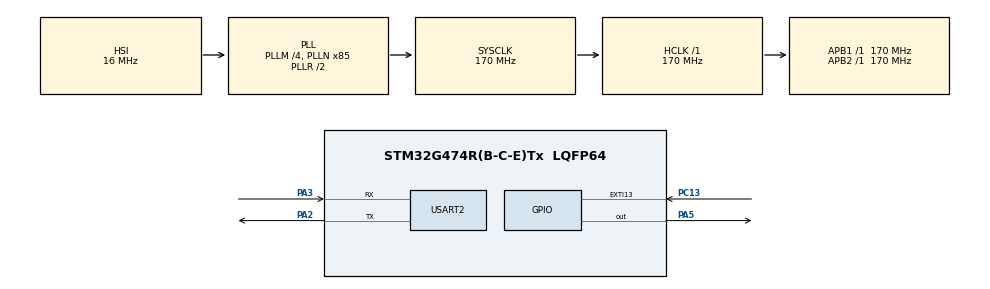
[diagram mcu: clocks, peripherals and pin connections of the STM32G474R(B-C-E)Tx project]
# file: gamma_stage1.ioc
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Dma.Request0=USART2_RX
Dma.USART2_RX.0.Direction=DMA_PERIPH_TO_MEMORY
Dma.USART2_RX.0.EventEnable=DISABLE
Dma.USART2_RX.0.Instance=DMA1_Channel1
Dma.USART2_RX.0.MemDataAlignment=DMA_MDATAALIGN_BYTE
Dma.USART2_RX.0.MemInc=DMA_MINC_ENABLE
Dma.USART2_RX.0.Mode=DMA_CIRCULAR
Dma.USART2_RX.0.PeriphDataAlignment=DMA_PDATAALIGN_BYTE
Dma.USART2_RX.0.PeriphInc=DMA_PINC_DISABLE
Dma.USART2_RX.0.Polarity=HAL_DMAMUX_REQ_GEN_RISING
Dma.USART2_RX.0.Priority=DMA_PRIORITY_LOW
Dma.USART2_RX.0.RequestNumber=1
Dma.USART2_RX.0.SignalID=NONE
Dma.USART2_RX.0.SyncEnable=DISABLE
Dma.USART2_RX.0.SyncPolarity=HAL_DMAMUX_SYNC_NO_EVENT
Dma.USART2_RX.0.SyncRequestNumber=1
Dma.USART2_RX.0.SyncSignalID=NONE
Mcu.Family=STM32G4
Mcu.Name=STM32G474R(B-C-E)Tx
Mcu.Package=LQFP64
NUCLEO-G474RE.BUTTON=1
NUCLEO-G474RE.LD2=true
NUCLEO-G474RE.VCP=true
NVIC.DMA1_Channel1_IRQn=true\:0\:0\:false\:false\:true\:false\:true\:true
NVIC.EXTI15_10_IRQn=true\:0\:0\:false\:false\:true\:true\:true\:true
NVIC.PriorityGroup=NVIC_PRIORITYGROUP_4
PA13.GPIO_Label=T_SWDIO
PA13.Signal=SYS_JTMS-SWDIO
PA14.GPIO_Label=T_SWCLK
PA14.Signal=SYS_JTCK-SWCLK
PA2.Mode=Asynchronous
PA2.Signal=USART2_TX
PA3.Mode=Asynchronous
PA3.Signal=USART2_RX
PA5.Signal=GPIO_Output
PB3.GPIO_Label=T_SWO
PB3.Signal=SYS_JTDO-SWO
PC13.Signal=GPXTI13
PC14-OSC32_IN.GPIO_Label=RCC_OSC32_IN
PC14-OSC32_IN.Signal=RCC_OSC32_IN
PC15-OSC32_OUT.GPIO_Label=RCC_OSC32_OUT
PC15-OSC32_OUT.Signal=RCC_OSC32_OUT
PF0-OSC_IN.GPIO_Label=RCC_OSC_IN
PF0-OSC_IN.Signal=RCC_OSC_IN
PF1-OSC_OUT.GPIO_Label=RCC_OSC_OUT
PF1-OSC_OUT.Signal=RCC_OSC_OUT
ProjectManager.HeapSize=0x200
ProjectManager.StackSize=0x400
ProjectManager.TargetToolchain=STM32CubeIDE
RCC.ADC12Freq_Value=170000000
RCC.ADC345Freq_Value=170000000
RCC.AHBFreq_Value=170000000
RCC.APB1Freq_Value=170000000
RCC.APB1TimFreq_Value=170000000
RCC.APB2Freq_Value=170000000
RCC.APB2TimFreq_Value=170000000
RCC.CortexFreq_Value=170000000
RCC.EXTERNAL_CLOCK_VALUE=12288000
RCC.HCLKFreq_Value=170000000
RCC.HSE_VALUE=24000000
RCC.HSI48_VALUE=48000000
RCC.HSI_VALUE=16000000
RCC.LSE_VALUE=32768
RCC.PLLM=RCC_PLLM_DIV4
RCC.PLLN=85
RCC.RTCClockSelection=RCC_RTCCLKSOURCE_LSE
RCC.SYSCLKFreq_VALUE=170000000
RCC.SYSCLKSource=RCC_SYSCLKSOURCE_PLLCLK
RCC.USBFreq_Value=170000000
RCC.VCOOutputFreq_Value=340000000
VP_NUCLEO-G474RE_VS_BSP_COMMON.Mode=COMMON
VP_SYS_VS_DBSignals.Mode=DisableDeadBatterySignals
board=NUCLEO-G474RE

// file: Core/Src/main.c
/* USER CODE BEGIN Header */
/**
  ******************************************************************************
  * @file           : main.c
  * @brief          : Main program body
  ******************************************************************************
  * @attention
  *
  * Copyright (c) 2026 STMicroelectronics.
  * All rights reserved.
  *
  * This software is licensed under terms that can be found in the LICENSE file
  * in the root directory of this software component.
  * If no LICENSE file comes with this software, it is provided AS-IS.
  *
  ******************************************************************************
  */
/* USER CODE END Header */
#include "main.h"

/* USER CODE BEGIN Includes */
#include "app.h"
void stage2_init(void);   /* stage2_hw.c: DAC→ADC→DSP тракт */
/* USER CODE END Includes */

COM_InitTypeDef BspCOMInit;

/* USER CODE BEGIN PV */
#define UART_RX_RING_SIZE 256
static uint8_t  uart_rx_ring[UART_RX_RING_SIZE];
static uint32_t uart_rx_tail = 0;

/* Имя hdma_usart2_rx обязано совпадать со ссылкой в DMA1_Channel1_IRQHandler
 * (stm32g4xx_it.c). Фактически канал обслуживает LPUART1_RX — VCP платы. */
DMA_HandleTypeDef hdma_usart2_rx;
/* USER CODE END PV */

void SystemClock_Config(void);
static void MX_GPIO_Init(void);
static void MX_DMA_Init(void);

/* USER CODE BEGIN 0 */

/* ---- порты для app.c (см. firmware/core/app.h) ---- */

void app_port_uart_send(const uint8_t *data, size_t n)
{
    HAL_UART_Transmit(&hcom_uart[COM1], (uint8_t *)data, (uint16_t)n, 2000);
}

uint32_t app_port_millis(void)
{
    return HAL_GetTick();
}

float app_port_temperature_c(void)
{
    return 25.0f;   /* этап 1: заглушка; на боевой плате — Pt1000 через ADC4 */
}

/* ---- VCP: перенастройка на 600000 бод + кольцевой DMA-приём ---- */

static void vcp_init_600000(void)
{
    /* BSP_COM_Init уже поднял LPUART1 (PA2/PA3) на 115200 — меняем только скорость */
    hcom_uart[COM1].Init.BaudRate = 600000;
    if (HAL_UART_Init(&hcom_uart[COM1]) != HAL_OK)
        Error_Handler();

    hdma_usart2_rx.Instance                 = DMA1_Channel1;
    hdma_usart2_rx.Init.Request             = DMA_REQUEST_LPUART1_RX;
    hdma_usart2_rx.Init.Direction           = DMA_PERIPH_TO_MEMORY;
    hdma_usart2_rx.Init.PeriphInc           = DMA_PINC_DISABLE;
    hdma_usart2_rx.Init.MemInc              = DMA_MINC_ENABLE;
    hdma_usart2_rx.Init.PeriphDataAlignment = DMA_PDATAALIGN_BYTE;
    hdma_usart2_rx.Init.MemDataAlignment    = DMA_MDATAALIGN_BYTE;
    hdma_usart2_rx.Init.Mode                = DMA_CIRCULAR;
    hdma_usart2_rx.Init.Priority            = DMA_PRIORITY_LOW;
    if (HAL_DMA_Init(&hdma_usart2_rx) != HAL_OK)
        Error_Handler();
    __HAL_LINKDMA(&hcom_uart[COM1], hdmarx, hdma_usart2_rx);

    HAL_UART_Receive_DMA(&hcom_uart[COM1], uart_rx_ring, UART_RX_RING_SIZE);
}

/* вычитка кольцевого DMA-буфера: отдать в app всё, что накапало */
static void uart_rx_poll(void)
{
    uint32_t head = UART_RX_RING_SIZE - __HAL_DMA_GET_COUNTER(&hdma_usart2_rx);
    while (uart_rx_tail != head) {
        uint32_t chunk_end = (head > uart_rx_tail) ? head : UART_RX_RING_SIZE;
        app_rx_feed(&uart_rx_ring[uart_rx_tail], chunk_end - uart_rx_tail);
        uart_rx_tail = (chunk_end == UART_RX_RING_SIZE) ? 0u : chunk_end;
        head = UART_RX_RING_SIZE - __HAL_DMA_GET_COUNTER(&hdma_usart2_rx);
    }
}
/* USER CODE END 0 */

int main(void)
{

  /* MCU Configuration--------------------------------------------------------*/

  /* Reset of all peripherals, Initializes the Flash interface and the Systick. */
  HAL_Init();

  /* Configure the system clock */
  SystemClock_Config();

  /* Initialize all configured peripherals */
  MX_GPIO_Init();
  MX_DMA_Init();

  /* Initialize led */
  BSP_LED_Init(LED_GREEN);

  /* Initialize USER push-button, will be used to trigger an interrupt each time it's pressed.*/
  BSP_PB_Init(BUTTON_USER, BUTTON_MODE_EXTI);

  /* Initialize COM1 port (115200, 8 bits (7-bit data + 1 stop bit), no parity */
  BspCOMInit.BaudRate   = 115200;
  BspCOMInit.WordLength = COM_WORDLENGTH_8B;
  BspCOMInit.StopBits   = COM_STOPBITS_1;
  BspCOMInit.Parity     = COM_PARITY_NONE;
  BspCOMInit.HwFlowCtl  = COM_HWCONTROL_NONE;
  if (BSP_COM_Init(COM1, &BspCOMInit) != BSP_ERROR_NONE)
  {
    Error_Handler();
  }

  /* Infinite loop */
  /* USER CODE BEGIN WHILE */
  vcp_init_600000();   /* после BSP_COM_Init: 115200 → 600000 + DMA RX */
  stage2_init();       /* DAC→(перемычка A2-A0)→ADC→DSP */
  app_init();
  while (1)
  {

    /* USER CODE END WHILE */

    /* USER CODE BEGIN 3 */
    uart_rx_poll();
    app_poll();
  }
  /* USER CODE END 3 */
}

void SystemClock_Config(void)
{
  RCC_OscInitTypeDef RCC_OscInitStruct = {0};
  RCC_ClkInitTypeDef RCC_ClkInitStruct = {0};

  /** Configure the main internal regulator output voltage
  */
  HAL_PWREx_ControlVoltageScaling(PWR_REGULATOR_VOLTAGE_SCALE1_BOOST);

  /** Initializes the RCC Oscillators according to the specified parameters
  * in the RCC_OscInitTypeDef structure.
  */
  RCC_OscInitStruct.OscillatorType = RCC_OSCILLATORTYPE_HSI;
  RCC_OscInitStruct.HSIState = RCC_HSI_ON;
  RCC_OscInitStruct.HSICalibrationValue = RCC_HSICALIBRATION_DEFAULT;
  RCC_OscInitStruct.PLL.PLLState = RCC_PLL_ON;
  RCC_OscInitStruct.PLL.PLLSource = RCC_PLLSOURCE_HSI;
  RCC_OscInitStruct.PLL.PLLM = RCC_PLLM_DIV4;
  RCC_OscInitStruct.PLL.PLLN = 85;
  RCC_OscInitStruct.PLL.PLLP = RCC_PLLP_DIV2;
  RCC_OscInitStruct.PLL.PLLQ = RCC_PLLQ_DIV2;
  RCC_OscInitStruct.PLL.PLLR = RCC_PLLR_DIV2;
  if (HAL_RCC_OscConfig(&RCC_OscInitStruct) != HAL_OK)
  {
    Error_Handler();
  }

  /** Initializes the CPU, AHB and APB buses clocks
  */
  RCC_ClkInitStruct.ClockType = RCC_CLOCKTYPE_HCLK|RCC_CLOCKTYPE_SYSCLK
                              |RCC_CLOCKTYPE_PCLK1|RCC_CLOCKTYPE_PCLK2;
  RCC_ClkInitStruct.SYSCLKSource = RCC_SYSCLKSOURCE_PLLCLK;
  RCC_ClkInitStruct.AHBCLKDivider = RCC_SYSCLK_DIV1;
  RCC_ClkInitStruct.APB1CLKDivider = RCC_HCLK_DIV1;
  RCC_ClkInitStruct.APB2CLKDivider = RCC_HCLK_DIV1;

  if (HAL_RCC_ClockConfig(&RCC_ClkInitStruct, FLASH_LATENCY_4) != HAL_OK)
  {
    Error_Handler();
  }
}

static void MX_DMA_Init(void)
{

  /* DMA controller clock enable */
  __HAL_RCC_DMAMUX1_CLK_ENABLE();
  __HAL_RCC_DMA1_CLK_ENABLE();

  /* DMA interrupt init */
  /* DMA1_Channel1_IRQn interrupt configuration */
  HAL_NVIC_SetPriority(DMA1_Channel1_IRQn, 0, 0);
  HAL_NVIC_EnableIRQ(DMA1_Channel1_IRQn);

}

static void MX_GPIO_Init(void)
{

  /* GPIO Ports Clock Enable */
  __HAL_RCC_GPIOC_CLK_ENABLE();
  __HAL_RCC_GPIOF_CLK_ENABLE();
  __HAL_RCC_GPIOA_CLK_ENABLE();
  __HAL_RCC_GPIOB_CLK_ENABLE();

}

/* USER CODE BEGIN 4 */
/* При ошибке линии (шум/обрыв) HAL останавливает DMA-приём — перезапускаем */
void HAL_UART_ErrorCallback(UART_HandleTypeDef *huart)
{
    if (huart == &hcom_uart[COM1]) {
        uart_rx_tail = 0;
        HAL_UART_Receive_DMA(&hcom_uart[COM1], uart_rx_ring, UART_RX_RING_SIZE);
    }
}
/* USER CODE END 4 */

void Error_Handler(void)
{
  __disable_irq();
  while (1)
  {
  }
}
